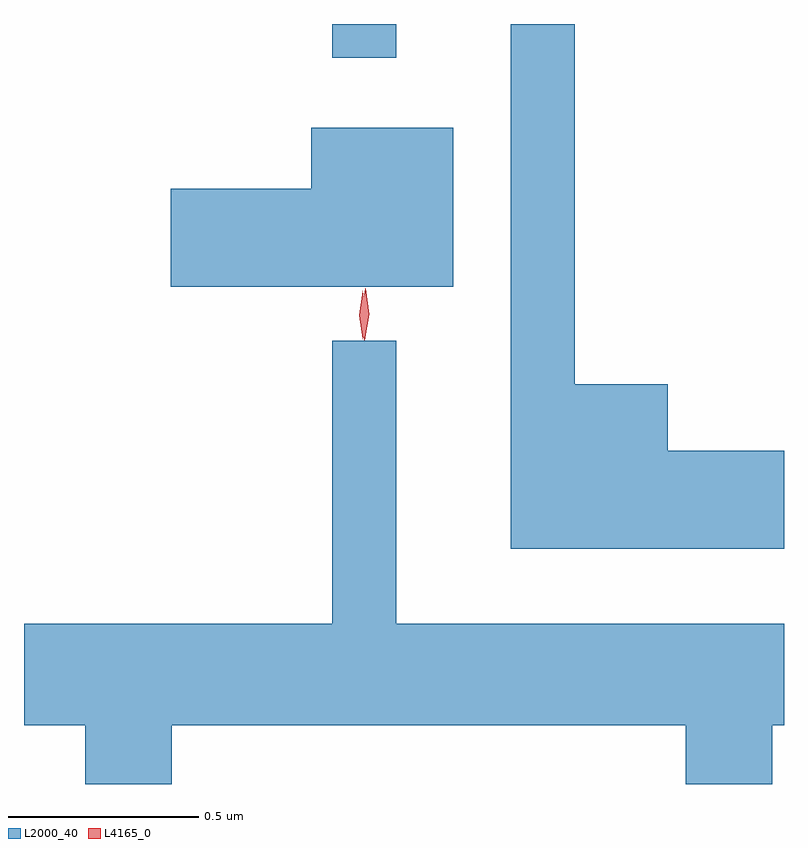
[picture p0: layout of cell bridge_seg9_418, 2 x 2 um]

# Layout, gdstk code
import gdstk
lib = gdstk.Library(unit=1e-6, precision=1e-09)
def R(c, l, rs):  # rectangles x0, y0, x1, y1
    for r in rs: c.add(gdstk.rectangle(r[:2], r[2:], *l))
def P(c, l, *ps):  # polygons
    for p in ps: c.add(gdstk.Polygon(p, *l))
L2000_40 = (2000, 40)
L4165_0 = (4165, 0)

bridge_seg9_418 = lib.new_cell('bridge_seg9_418')
R(bridge_seg9_418, L2000_40, [(624.571,2044.633,624.739,2044.722)])
P(bridge_seg9_418, L2000_40, [(625.76,2043.599),(625.454,2043.599),(625.454,2043.774),(625.209,2043.774),(625.209,2044.722),(625.041,2044.722),(625.041,2043.341),(625.76,2043.341)],
  [(624.889,2044.449),(624.516,2044.449),(624.516,2044.289),(624.146,2044.289),(624.146,2044.031),(624.889,2044.031)],
  [(624.149,2042.876),(625.501,2042.876),(625.501,2042.722),(625.729,2042.722),(625.729,2042.876),(625.76,2042.876),(625.76,2043.144),(624.739,2043.144),(624.739,2043.888),(624.571,2043.888),(624.571,2043.144),(623.76,2043.144),(623.76,2042.876),(623.921,2042.876),(623.921,2042.722),(624.149,2042.722)])
P(bridge_seg9_418, L4165_0, [(624.652,2043.893),(624.652,2043.894),(624.642,2043.956),(624.652,2044.019),(624.652,2044.02),(624.652,2044.019),(624.662,2043.956),(624.652,2043.894)],
  [(624.656,2043.89),(624.648,2043.958),(624.658,2044.025),(624.658,2044.026),(624.659,2044.025),(624.668,2043.958),(624.657,2043.89),(624.657,2043.89)])

lib.write_gds('bridge_seg9_418.gds')
